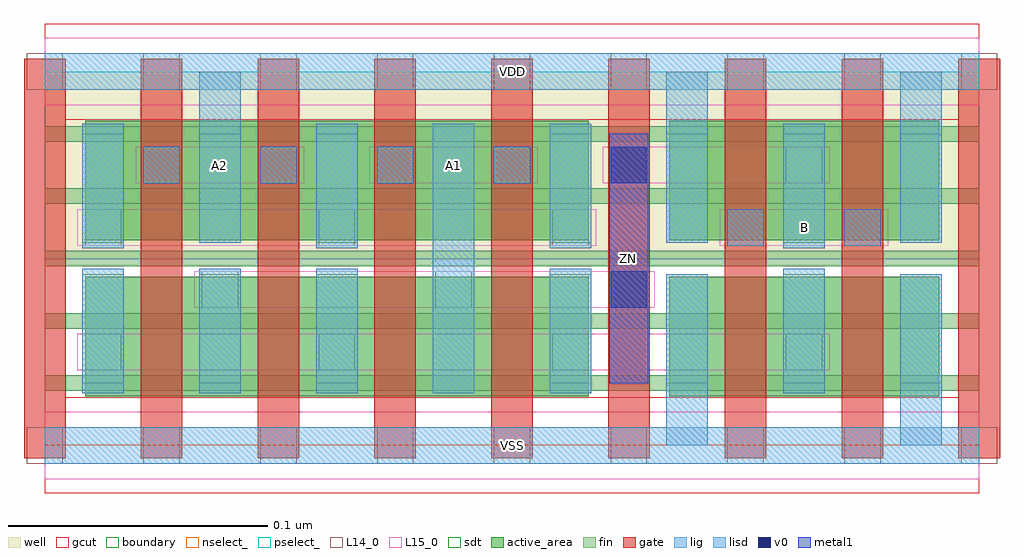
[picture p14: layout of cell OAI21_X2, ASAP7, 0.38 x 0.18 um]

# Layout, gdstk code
import gdstk
lib = gdstk.Library(unit=1e-6, precision=2.5e-10)
def R(c, l, rs):  # rectangles x0, y0, x1, y1
    for r in rs: c.add(gdstk.rectangle(r[:2], r[2:], *l))
def A(c, l, x, y, w, h, nx, ny, dx, dy):  # array of equal rectangles
    R(c, l, [(x+i*dx, y+j*dy, x+i*dx+w, y+j*dy+h) for i in range(nx) for j in range(ny)])
well = (1, 0)
fin = (2, 0)
gate = (7, 0)
gcut = (10, 0)
active_area = (11, 0)
nselect_ = (12, 0)
pselect_ = (13, 0)
L14_0 = (14, 0)
L15_0 = (15, 0)
lig = (16, 0)
lisd = (17, 0)
v0 = (18, 0)
metal1 = (19, 0)
sdt = (88, 0)
boundary = (100, 0)

oai21_x2 = lib.new_cell('OAI21_X2')
R(oai21_x2, well, [(0,0.072,0.36,0.144)])
A(oai21_x2, fin, 0, 0.021, 0.36, 0.006, 1, 5, 0, 0.024)
A(oai21_x2, gate, -0.008, -0.005, 0.016, 0.154, 9, 1, 0.045, 0)
R(oai21_x2, gcut, [(0,-0.0185,0.36,0.0185), (-0.008,-0.005,0.008,0.149), (0.352,-0.005,0.368,0.149), (0,0.1255,0.36,0.1625)])
A(oai21_x2, active_area, 0.0155, 0.019, 0.059, 0.046, 4, 2, 0.045, 0.06)
R(oai21_x2, active_area, [(0.2405,0.019,0.2995,0.065), (0.2855,0.019,0.3445,0.065), (0.2405,0.079,0.2995,0.125), (0.2855,0.079,0.3445,0.125)])
R(oai21_x2, nselect_, [(0,0,0.36,0.072)])
R(oai21_x2, pselect_, [(0,0.072,0.36,0.144)])
A(oai21_x2, L14_0, -0.007, -0.007, 0.014, 0.014, 9, 2, 0.045, 0.144)
A(oai21_x2, L14_0, 0.0155, 0.029, 0.014, 0.014, 4, 1, 0.09, 0)
A(oai21_x2, L14_0, 0.0155, 0.077, 0.014, 0.014, 3, 1, 0.09, 0)
A(oai21_x2, L14_0, 0.038, 0.101, 0.014, 0.014, 4, 1, 0.045, 0)
R(oai21_x2, L14_0, [(0.0605,0.053,0.0745,0.067), (0.1505,0.053,0.1645,0.067), (0.263,0.077,0.277,0.091), (0.308,0.077,0.322,0.091), (0.2855,0.101,0.2995,0.115)])
R(oai21_x2, L15_0, [(0,-0.013,0.36,0.013), (0.0125,0.029,0.3025,0.043), (0.0575,0.053,0.235,0.067), (0.0125,0.077,0.2125,0.091), (0.26,0.077,0.325,0.091), (0.035,0.101,0.1,0.115), (0.125,0.101,0.19,0.115), (0.215,0.101,0.3025,0.115), (0,0.131,0.36,0.157)])
A(oai21_x2, lig, 0.038, 0.101, 0.014, 0.014, 4, 1, 0.045, 0)
R(oai21_x2, lig, [(0,-0.007,0.36,0.007), (0.263,0.077,0.277,0.091), (0.308,0.077,0.322,0.091), (0,0.137,0.36,0.151)])
A(oai21_x2, lisd, 0.1045, 0.02, 0.016, 0.048, 3, 2, 0.09, 0.056)
R(oai21_x2, lisd, [(0.2395,0,0.2555,0.066), (0.3295,0,0.3455,0.066), (0.0145,0.02,0.0305,0.068), (0.0595,0.02,0.0755,0.068), (0.0595,0.02,0.0755,0.068), (0.1045,0.02,0.1205,0.068), (0.1495,0.02,0.1655,0.124), (0.1495,0.02,0.1655,0.124), (0.2845,0.02,0.3005,0.068), (0.0145,0.076,0.0305,0.124), (0.1045,0.076,0.1205,0.124), (0.2845,0.076,0.3005,0.124), (0.0595,0.078,0.0755,0.144), (0.0595,0.078,0.0755,0.144), (0.2395,0.078,0.2555,0.144), (0.3295,0.078,0.3455,0.144)])
R(oai21_x2, v0, [(0.218,0.053,0.232,0.067), (0.218,0.101,0.232,0.115)])
R(oai21_x2, metal1, [(0.2175,0.024,0.2325,0.12)])
A(oai21_x2, sdt, 0.1945, 0.024, 0.016, 0.042, 3, 2, 0.045, 0.054)
R(oai21_x2, sdt, [(0.1495,0.02,0.1655,0.124), (0.1495,0.02,0.1655,0.124), (0.0145,0.024,0.0305,0.066), (0.0595,0.024,0.0755,0.066), (0.0595,0.024,0.0755,0.066), (0.1045,0.024,0.1205,0.066), (0.1045,0.024,0.1205,0.066), (0.2845,0.024,0.3005,0.066), (0.3295,0.024,0.3455,0.066), (0.0145,0.078,0.0305,0.12), (0.0595,0.078,0.0755,0.12), (0.0595,0.078,0.0755,0.12), (0.1045,0.078,0.1205,0.12), (0.1045,0.078,0.1205,0.12), (0.2845,0.078,0.3005,0.12), (0.3295,0.078,0.3455,0.12)])
R(oai21_x2, boundary, [(0,0,0.36,0.144)])
oai21_x2.add(gdstk.Label('VDD', (0.18,0.144), layer=1, texttype=251))
oai21_x2.add(gdstk.Label('VSS', (0.18,0), layer=3, texttype=251))
oai21_x2.add(gdstk.Label('A2', (0.0675,0.108), layer=15, texttype=251))
oai21_x2.add(gdstk.Label('A1', (0.1575,0.108), layer=15, texttype=251))
oai21_x2.add(gdstk.Label('B', (0.2925,0.084), layer=15, texttype=251))
oai21_x2.add(gdstk.Label('VSS', (0.18,0), layer=15, texttype=251))
oai21_x2.add(gdstk.Label('VDD', (0.18,0.144), layer=15, texttype=251))
oai21_x2.add(gdstk.Label('ZN', (0.225,0.072), layer=19, texttype=251))

lib.write_gds('OAI21_X2.gds')
